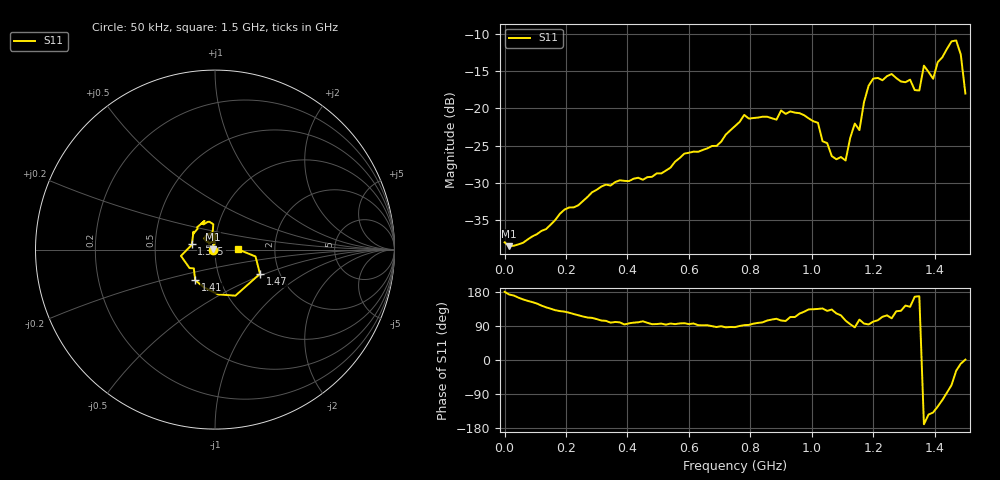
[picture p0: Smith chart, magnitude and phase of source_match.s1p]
! Created with skrf 1.8.0 (http://scikit-rf.org).
# Hz S RI R 50.0
!freq ReS11 ImS11
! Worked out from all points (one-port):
!   101 points, 50 kHz to 1.5 GHz, reference 50 ohm
!   lowest |S11| = -38.5 dB at 15.05 MHz (marker M1), VSWR 1.02, Z = 48.8 + j0.147 ohm
!   |S11| at or under -10 dB: start of sweep to end of sweep
!   S11 on the Smith chart (normalised r, x): 50 kHz: 0.97, +0.00; 1.335 GHz: 0.77, +0.05; 1.41 GHz: 0.76, -0.27; 1.47 GHz: 1.58, -0.47; 1.5 GHz: 1.29, +0.01
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50000  -0.0127 4.53e-05
1.50495e7  -0.0118 0.0015
1.950435e8  -0.0128 0.0166
3.750375e8  -0.00536 0.0325
5.70031e8  -0.00526 0.0462
6.90027e8  0.00296 0.056
7.50025e8  0.00427 0.0759
7.80024e8  -0.00301 0.0903
9.450185e8  -0.0371 0.0859
1.020016e9  -0.0563 0.0569
1.035016e9  -0.0433 0.0418
1.080014e9  -0.0248 0.0383
1.110013e9  -0.0108 0.0434
1.125012e9  -0.00489 0.0632
1.140012e9  0.00523 0.0789
1.155012e9  -0.0203 0.0686
1.170011e9  -0.0117 0.1095
1.20001e9  -0.0309 0.1551
1.320006e9  -0.1196 0.0994
1.335006e9  -0.1291 0.0299
1.350005e9  -0.1289 0.0268
1.365004e9  -0.1899 -0.035
1.395004e9  -0.118 -0.1046
1.410003e9  -0.1101 -0.1714
1.455002e9  0.1138 -0.2567
1.470001e9  0.2506 -0.1351
1.485e9  0.2258 -0.0383
1.5e9  0.1255 0.00232
